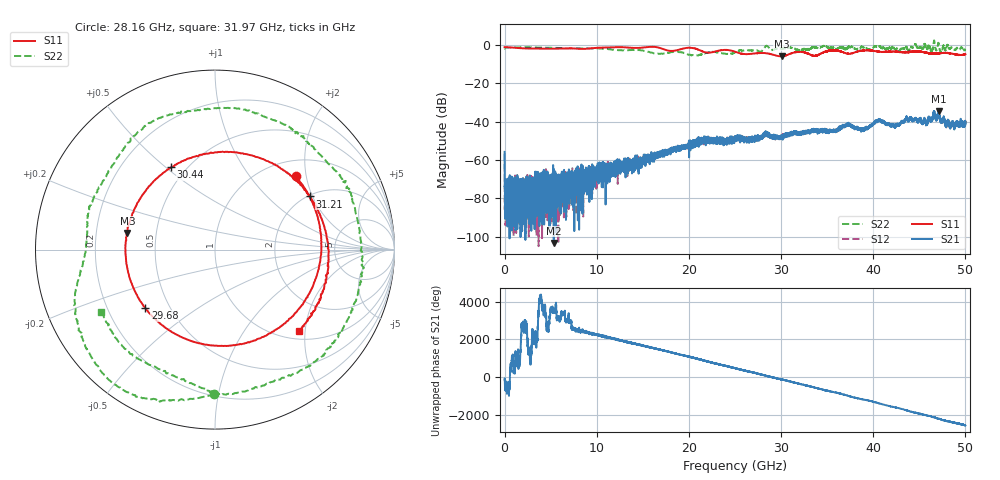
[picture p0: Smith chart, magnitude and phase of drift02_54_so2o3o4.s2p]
!Created with skrf (http://scikit-rf.org).
# Hz S RI R 50.0
!freq ReS11 ImS11 ReS21 ImS21 ReS12 ImS12 ReS22 ImS22
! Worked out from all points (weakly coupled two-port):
!   10001 points, 300 kHz to 50 GHz, reference 50 ohm
!   highest |S21| = -34.49 dB at 47.09 GHz (marker M1); lowest = -103.2 dB at 5.335 GHz (marker M2)
!   lowest |S11| = -6.1 dB at 30.05 GHz (marker M3), VSWR 2.97, Z = 17 + j4.19 ohm
!   |S11| at or under -10 dB: nowhere
!   |S22| runs from -5.7 to 2.2 dB; largest |S21 - S12| = 0.003
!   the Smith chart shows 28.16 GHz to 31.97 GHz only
!   S11 on the Smith chart (normalised r, x): 28.16 GHz: 1.34, +1.74; 29.68 GHz: 0.37, -0.32; 30.44 GHz: 0.41, +0.52; 31.21 GHz: 2.04, +1.91; 31.97 GHz: 1.18, -1.86
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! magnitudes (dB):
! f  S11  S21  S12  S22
! 300 kHz  -1.3  -55.8  -56.8  -2.1
! 290.3 MHz  -1.3  -77.6  -72.0  -1.4
! 3.865 GHz  -2.0  -81.6  -82.1  -1.5
! 5.335 GHz  -2.1  -103.2  -78.2  -1.6
! 8.335 GHz  -2.2  -73.6  -81.8  -1.9
! 16.67 GHz  -1.5  -57.9  -56.7  -4.7
! 21.15 GHz  -2.8  -49.8  -50.6  -5.2
! 25 GHz  -3.7  -49.4  -49.5  -3.9
! 28.16 GHz  -4.3  -46.6  -46.7  -1.9
! 29.68 GHz  -5.9  -47.7  -48.6  -2.1
! 30.05 GHz  -6.1  -48.4  -48.4  -2.0
! 30.44 GHz  -5.7  -46.6  -47.3  -1.8
! 31.21 GHz  -4.4  -46.2  -45.5  -1.7
! 31.97 GHz  -3.7  -46.1  -46.0  -2.8
! 33.34 GHz  -5.5  -44.3  -44.4  -1.6
! 37.26 GHz  -4.8  -41.3  -41.8  -1.8
! 38.86 GHz  -3.1  -44.5  -44.7  -1.2
! 40.59 GHz  -3.6  -38.8  -39.2  -1.0
! 41.67 GHz  -3.6  -40.9  -41.0  -1.9
! 47.09 GHz  -4.6  -34.5  -35.2  0.9
! 48.1 GHz  -4.3  -39.0  -39.8  -0.4
! 50 GHz  -5.0  -41.3  -41.1  -2.6
